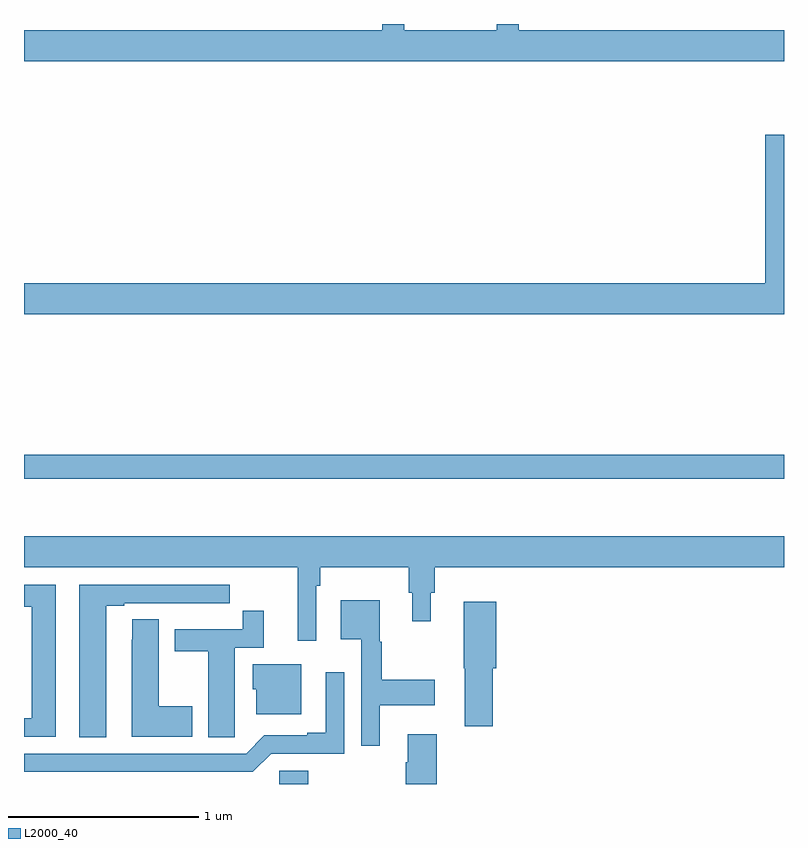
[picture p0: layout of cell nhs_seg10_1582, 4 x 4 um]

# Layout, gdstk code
import gdstk
lib = gdstk.Library(unit=1e-6, precision=1e-09)
def R(c, l, rs):  # rectangles x0, y0, x1, y1
    for r in rs: c.add(gdstk.rectangle(r[:2], r[2:], *l))
def P(c, l, *ps):  # polygons
    for p in ps: c.add(gdstk.Polygon(p, *l))
L2000_40 = (2000, 40)

nhs_seg10_1582 = lib.new_cell('nhs_seg10_1582')
R(nhs_seg10_1582, L2000_40, [(194.343,1308.5,194.495,1308.57), (193,1310.106,197,1310.234)])
P(nhs_seg10_1582, L2000_40, [(197,1312.468),(195.605,1312.468),(195.605,1312.5),(195.487,1312.5),(195.487,1312.468),(195.002,1312.468),(195.002,1312.5),(194.885,1312.5),(194.885,1312.468),(193,1312.468),(193,1312.304),(197,1312.304)],
  [(197,1311.916),(196.901,1311.916),(196.901,1311.136),(193,1311.136),(193,1310.972),(197,1310.972)],
  [(194.538,1309.544),(194.558,1309.544),(194.558,1309.64),(195.025,1309.64),(195.025,1309.506),(195.044,1309.506),(195.044,1309.356),(195.142,1309.356),(195.142,1309.506),(195.161,1309.506),(195.161,1309.64),(197,1309.64),(197,1309.804),(193,1309.804),(193,1309.64),(194.441,1309.64),(194.441,1309.254),(194.538,1309.254)],
  [(193.168,1309.548),(193,1309.548),(193,1309.432),(193.04,1309.432),(193.04,1308.846),(193,1308.846),(193,1308.75),(193.168,1308.75)],
  [(193.432,1309.437),(193.528,1309.437),(193.528,1309.452),(193.804,1309.452),(193.804,1309.451),(193.97,1309.451),(193.97,1309.452),(194.083,1309.452),(194.083,1309.548),(193.292,1309.548),(193.292,1308.745),(193.432,1308.745)],
  [(194.872,1308.914),(195.163,1308.914),(195.163,1309.049),(194.884,1309.049),(194.884,1309.248),(194.872,1309.248),(194.872,1309.468),(194.666,1309.468),(194.666,1309.262),(194.775,1309.262),(194.775,1308.702),(194.872,1308.702)],
  [(195.467,1309.11),(195.485,1309.11),(195.485,1309.459),(195.314,1309.459),(195.314,1309.11),(195.32,1309.11),(195.32,1308.804),(195.467,1308.804)],
  [(194.109,1308.856),(194.11,1308.856),(194.11,1309.218),(194.261,1309.218),(194.261,1309.411),(194.152,1309.411),(194.152,1309.314),(193.793,1309.314),(193.793,1309.198),(193.97,1309.198),(193.97,1308.745),(194.109,1308.745)],
  [(193.885,1308.909),(193.708,1308.909),(193.708,1309.367),(193.569,1309.367),(193.569,1309.259),(193.568,1309.259),(193.568,1308.749),(193.885,1308.749)],
  [(194.458,1309.129),(194.204,1309.129),(194.204,1308.999),(194.222,1308.999),(194.222,1308.866),(194.458,1308.866)],
  [(194.301,1308.66),(194.685,1308.66),(194.685,1309.087),(194.588,1309.087),(194.588,1308.769),(194.492,1308.769),(194.492,1308.756),(194.265,1308.756),(194.169,1308.66),(193,1308.66),(193,1308.564),(194.205,1308.564)],
  [(195.173,1308.763),(195.02,1308.763),(195.02,1308.614),(195.008,1308.614),(195.008,1308.5),(195.173,1308.5)])

lib.write_gds('nhs_seg10_1582.gds')
